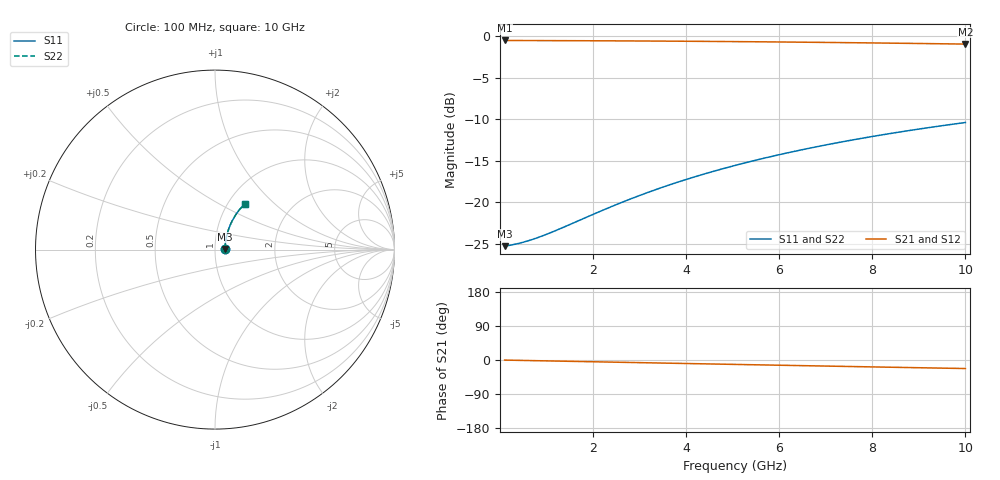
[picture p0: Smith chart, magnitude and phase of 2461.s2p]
# Hz S RI R 50.00
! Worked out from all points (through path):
!   100 points, 100 MHz to 10 GHz, reference 50 ohm
!   highest |S21| = -0.49 dB at 100 MHz (marker M1); lowest = -0.9 dB at 10 GHz (marker M2)
!   group delay of S21, straight-line fit = 6.27 ps
!   lowest |S11| = -25.3 dB at 100 MHz (marker M3), VSWR 1.12, Z = 55.7 + j0.329 ohm
!   |S11| at or under -10 dB: start of sweep to end of sweep
!   |S22| runs from -25.3 to -10.4 dB; largest |S21 - S12| = 0
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1e8  0.0544 0.00294  0.9456 -0.00385  0.9456 -0.00385  0.0544 0.00294
4e8  0.0553 0.0118  0.9446 -0.0154  0.9446 -0.0154  0.0553 0.0118
6e8  0.0559 0.0176  0.9441 -0.023  0.9441 -0.023  0.0559 0.0176
8e8  0.0565 0.0235  0.9435 -0.0307  0.9435 -0.0307  0.0565 0.0235
1e9  0.0571 0.0293  0.9428 -0.0383  0.9428 -0.0383  0.0571 0.0293
1.2e9  0.0578 0.0351  0.9421 -0.0459  0.9421 -0.0459  0.0578 0.0351
1.8e9  0.0604 0.0525  0.9394 -0.0687  0.9394 -0.0687  0.0604 0.0525
2.2e9  0.0625 0.064  0.9373 -0.0838  0.9373 -0.0838  0.0625 0.064
2.6e9  0.065 0.0753  0.9347 -0.0988  0.9347 -0.0988  0.065 0.0753
3e9  0.0678 0.0866  0.9318 -0.1137  0.9318 -0.1137  0.0678 0.0866
3.4e9  0.0709 0.0978  0.9286 -0.1284  0.9286 -0.1284  0.0709 0.0978
3.8e9  0.0744 0.1088  0.925 -0.1431  0.925 -0.1431  0.0744 0.1088
4.2e9  0.0782 0.1197  0.921 -0.1576  0.921 -0.1576  0.0782 0.1197
4.6e9  0.0823 0.1304  0.9167 -0.1719  0.9167 -0.1719  0.0823 0.1304
5.1e9  0.088 0.1435  0.9109 -0.1895  0.9109 -0.1895  0.088 0.1435
5.5e9  0.0928 0.1538  0.9059 -0.2035  0.9059 -0.2035  0.0928 0.1538
5.9e9  0.0979 0.1639  0.9006 -0.2172  0.9006 -0.2172  0.0979 0.1639
6.7e9  0.109 0.1835  0.889 -0.244  0.889 -0.244  0.109 0.1835
7.5e9  0.1212 0.2021  0.8764 -0.2699  0.8764 -0.2699  0.1212 0.2021
8.4e9  0.1361 0.2219  0.8609 -0.2979  0.8609 -0.2979  0.1361 0.2219
9.2e9  0.1503 0.2384  0.8461 -0.3217  0.8461 -0.3217  0.1503 0.2384
1e10  0.1652 0.2538  0.8305 -0.3444  0.8305 -0.3444  0.1652 0.2538
